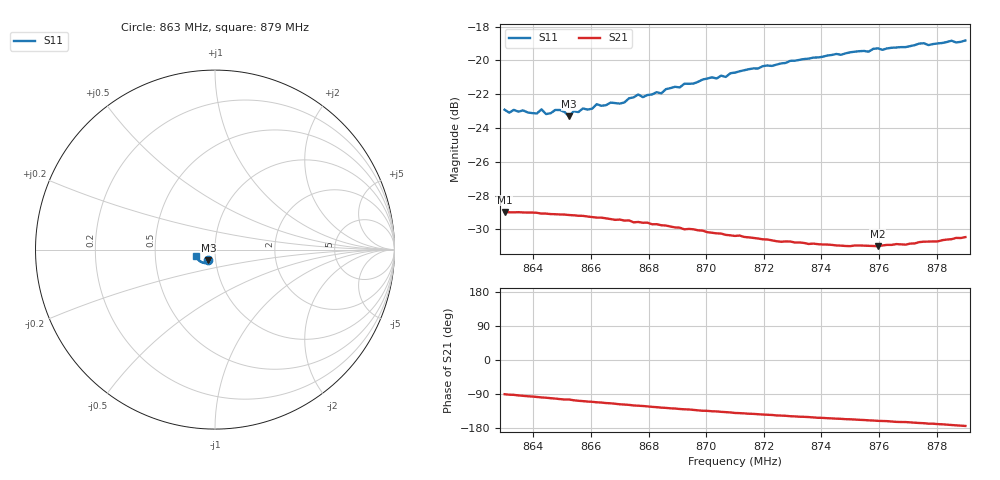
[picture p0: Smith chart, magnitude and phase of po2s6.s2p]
# HZ S RI R 50
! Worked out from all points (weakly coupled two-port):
!   101 points, 863 MHz to 879 MHz, reference 50 ohm
!   highest |S21| = -28.98 dB at 863 MHz (marker M1); lowest = -31.0 dB at 875.96 MHz (marker M2)
!   lowest |S11| = -23.3 dB at 865.24 MHz (marker M3), VSWR 1.15, Z = 46.1 - j5.3 ohm
!   |S11| at or under -10 dB: start of sweep to end of sweep
!   S12 and S22 are empty: the file has one direction only
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8.63e8  -0.0415 -0.0581  -0.00015 -0.0356  0 0  0 0
8.6316e8  -0.0402 -0.0573  -0.000972 -0.0355  0 0  0 0
8.6332e8  -0.0408 -0.0586  -0.0012 -0.0355  0 0  0 0
8.6412e8  -0.0377 -0.0585  -0.00464 -0.0351  0 0  0 0
8.6428e8  -0.0387 -0.0602  -0.00539 -0.0348  0 0  0 0
8.6444e8  -0.0369 -0.0587  -0.00583 -0.0347  0 0  0 0
8.6492e8  -0.0377 -0.0605  -0.00797 -0.0341  0 0  0 0
8.6524e8  -0.0372 -0.0572  -0.00854 -0.0338  0 0  0 0
8.654e8  -0.0345 -0.0617  -0.00978 -0.0334  0 0  0 0
8.6572e8  -0.0353 -0.0628  -0.011 -0.0329  0 0  0 0
8.6716e8  -0.0358 -0.0659  -0.0156 -0.0297  0 0  0 0
8.6764e8  -0.0388 -0.0691  -0.0169 -0.0286  0 0  0 0
8.678e8  -0.0384 -0.0677  -0.0172 -0.0282  0 0  0 0
8.6844e8  -0.0394 -0.0694  -0.019 -0.0264  0 0  0 0
8.686e8  -0.0405 -0.0715  -0.0192 -0.0261  0 0  0 0
8.6908e8  -0.044 -0.0705  -0.0203 -0.0248  0 0  0 0
8.6924e8  -0.0438 -0.0732  -0.0204 -0.0242  0 0  0 0
8.71e8  -0.0536 -0.0747  -0.0231 -0.0195  0 0  0 0
8.7372e8  -0.073 -0.0711  -0.0252 -0.0137  0 0  0 0
8.7596e8  -0.0896 -0.0612  -0.0266 -0.00938  0 0  0 0
8.7644e8  -0.0927 -0.0571  -0.0271 -0.00861  0 0  0 0
8.79e8  -0.1085 -0.0365  -0.0298 -0.0031  0 0  0 0
